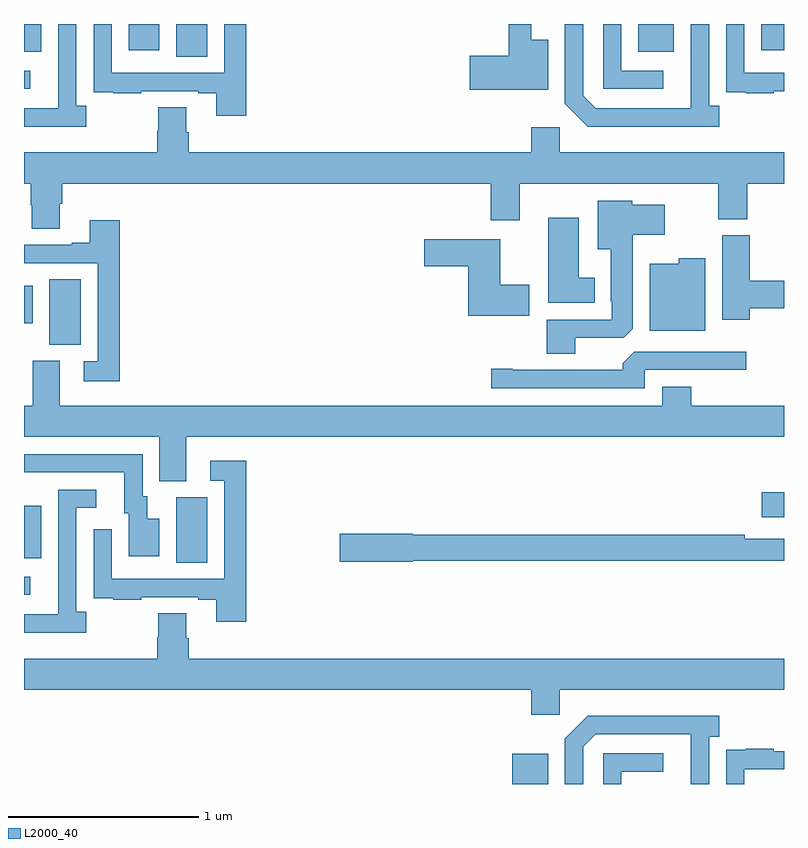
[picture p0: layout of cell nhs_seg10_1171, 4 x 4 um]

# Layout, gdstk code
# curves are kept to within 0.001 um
import gdstk
lib = gdstk.Library(unit=1e-6, precision=1e-09)
def R(c, l, rs):  # rectangles x0, y0, x1, y1
    for r in rs: c.add(gdstk.rectangle(r[:2], r[2:], *l))
def P(c, l, *ps):  # polygons
    for p in ps: c.add(gdstk.Polygon(p, *l))
L2000_40 = (2000, 40)

nhs_seg10_1171 = lib.new_cell('nhs_seg10_1171')
R(nhs_seg10_1171, L2000_40, [(173.57,1286.5,173.758,1286.659), (171,1287.495,171.034,1287.591), (171.8,1287.664,171.964,1288.008), (171,1287.689,171.091,1287.964), (174.882,1287.905,175,1288.035), (171.134,1288.813,171.298,1289.156), (171,1288.925,171.046,1289.122), (171,1290.159,171.034,1290.255), (171.8,1290.328,171.964,1290.5), (171,1290.353,171.091,1290.5), (174.233,1290.353,174.421,1290.5), (171.551,1290.363,171.712,1290.5), (174.881,1290.363,175,1290.5)])
P(nhs_seg10_1171, L2000_40, [(174.947,1290.147),(175,1290.147),(175,1290.243),(174.792,1290.243),(174.792,1290.5),(174.696,1290.5),(174.696,1290.25),(174.697,1290.25),(174.697,1290.141),(174.799,1290.141),(174.799,1290.135),(174.947,1290.135)],
  [(174.658,1290.07),(174.606,1290.07),(174.606,1290.5),(174.51,1290.5),(174.509,1290.057),(174.009,1290.057),(173.943,1290.123),(173.943,1290.5),(173.847,1290.5),(173.847,1290.081),(173.968,1289.96),(174.658,1289.96)],
  [(172.169,1290.5),(172.053,1290.5),(172.053,1290.243),(171.462,1290.243),(171.462,1290.5),(171.366,1290.5),(171.366,1290.25),(171.367,1290.25),(171.367,1290.141),(171.469,1290.141),(171.469,1290.135),(171.617,1290.135),(171.617,1290.147),(171.917,1290.147),(171.917,1290.135),(172.013,1290.135),(172.013,1290.018),(172.169,1290.018)],
  [(171.328,1290.07),(171.276,1290.07),(171.276,1290.5),(171.18,1290.5),(171.18,1290.257),(171.179,1290.257),(171.179,1290.057),(171,1290.057),(171,1289.96),(171.328,1289.96)],
  [(173.758,1290.418),(173.669,1290.418),(173.669,1290.5),(173.551,1290.5),(173.551,1290.332),(173.346,1290.332),(173.346,1290.154),(173.758,1290.154)],
  [(174.364,1290.255),(174.144,1290.255),(174.144,1290.5),(174.048,1290.5),(174.048,1290.159),(174.364,1290.159)],
  [(171.187,1289.554),(171.2,1289.554),(171.2,1289.66),(173.456,1289.66),(173.456,1289.466),(173.608,1289.466),(173.608,1289.66),(174.653,1289.66),(174.653,1289.473),(174.806,1289.473),(174.806,1289.66),(175,1289.66),(175,1289.824),(173.82,1289.824),(173.82,1289.956),(173.669,1289.956),(173.669,1289.824),(171.866,1289.824),(171.866,1289.93),(171.853,1289.93),(171.853,1290.062),(171.706,1290.062),(171.706,1289.937),(171.701,1289.937),(171.701,1289.824),(171,1289.824),(171,1289.66),(171.035,1289.66),(171.035,1289.547),(171.04,1289.547),(171.04,1289.422),(171.187,1289.422)],
  [(173.902,1288.848),(174.156,1288.848),(174.205,1288.897),(174.205,1289.39),(174.373,1289.39),(174.373,1289.548),(174.201,1289.548),(174.201,1289.569),(174.02,1289.569),(174.02,1289.315),(174.089,1289.315),(174.089,1289.041),(174.093,1289.041),(174.093,1288.944),(173.75,1288.944),(173.75,1288.765),(173.902,1288.765)],
  [(174.004,1289.164),(173.92,1289.164),(173.92,1289.479),(173.759,1289.479),(173.759,1289.033),(174.004,1289.033)],
  [(171.503,1289.467),(171.347,1289.467),(171.347,1289.35),(171.251,1289.35),(171.251,1289.337),(171,1289.337),(171,1289.241),(171.387,1289.241),(171.387,1288.725),(171.315,1288.725),(171.315,1288.62),(171.503,1288.62)],
  [(174.821,1289.003),(175,1289.003),(175,1289.15),(174.821,1289.15),(174.821,1289.388),(174.674,1289.388),(174.674,1288.944),(174.821,1288.944)],
  [(173.659,1289.127),(173.506,1289.127),(173.506,1289.367),(173.106,1289.367),(173.106,1289.225),(173.339,1289.225),(173.339,1288.964),(173.659,1288.964)],
  [(174.586,1289.266),(174.447,1289.266),(174.447,1289.239),(174.293,1289.239),(174.293,1288.886),(174.586,1288.886)],
  [(174.267,1288.68),(174.802,1288.68),(174.802,1288.776),(174.213,1288.776),(174.152,1288.714),(174.152,1288.68),(173.572,1288.68),(173.572,1288.685),(173.46,1288.685),(173.46,1288.584),(174.267,1288.584)],
  [(171.853,1288.328),(175,1288.328),(175,1288.492),(174.512,1288.492),(174.512,1288.591),(174.359,1288.591),(174.359,1288.492),(171.187,1288.492),(171.187,1288.728),(171.047,1288.728),(171.047,1288.492),(171,1288.492),(171,1288.328),(171.713,1288.328),(171.713,1288.093),(171.853,1288.093)],
  [(171.712,1287.895),(171.649,1287.895),(171.649,1288.014),(171.624,1288.014),(171.624,1288.236),(171,1288.236),(171,1288.14),(171.527,1288.14),(171.527,1287.924),(171.551,1287.924),(171.551,1287.699),(171.712,1287.699)],
  [(172.169,1288.201),(171.981,1288.201),(171.981,1288.095),(172.053,1288.095),(172.053,1287.579),(171.462,1287.579),(171.462,1287.841),(171.366,1287.841),(171.366,1287.586),(171.367,1287.586),(171.367,1287.477),(171.469,1287.477),(171.469,1287.471),(171.617,1287.471),(171.617,1287.483),(171.917,1287.483),(171.917,1287.471),(172.013,1287.471),(172.013,1287.354),(172.169,1287.354)],
  [(171.328,1287.406),(171.276,1287.406),(171.276,1287.954),(171.379,1287.954),(171.379,1288.05),(171.18,1288.05),(171.18,1287.593),(171.179,1287.593),(171.179,1287.393),(171,1287.393),(171,1287.296),(171.328,1287.296)],
  [(173.046,1287.676),(175,1287.676),(175,1287.792),(174.794,1287.792),(174.794,1287.812),(173.046,1287.812),(173.046,1287.818),(172.662,1287.818),(172.662,1287.671),(173.046,1287.671)],
  [(173.82,1286.996),(175,1286.996),(175,1287.16),(171.866,1287.16),(171.866,1287.266),(171.853,1287.266),(171.853,1287.398),(171.706,1287.398),(171.706,1287.273),(171.701,1287.273),(171.701,1287.16),(171,1287.16),(171,1286.996),(173.669,1286.996),(173.669,1286.865),(173.82,1286.865)],
  [(173.943,1286.697),(174.009,1286.763),(174.509,1286.763),(174.51,1286.5),(174.606,1286.5),(174.606,1286.75),(174.658,1286.75),(174.658,1286.86),(173.968,1286.86),(173.847,1286.739),(173.847,1286.5),(173.943,1286.5)],
  [(174.792,1286.577),(175,1286.577),(175,1286.673),(174.947,1286.673),(174.947,1286.686),(174.799,1286.686),(174.799,1286.679),(174.697,1286.679),(174.697,1286.57),(174.696,1286.57),(174.696,1286.5),(174.792,1286.5)],
  [(174.144,1286.565),(174.364,1286.565),(174.364,1286.661),(174.048,1286.661),(174.048,1286.5),(174.144,1286.5)])

lib.write_gds('nhs_seg10_1171.gds')
